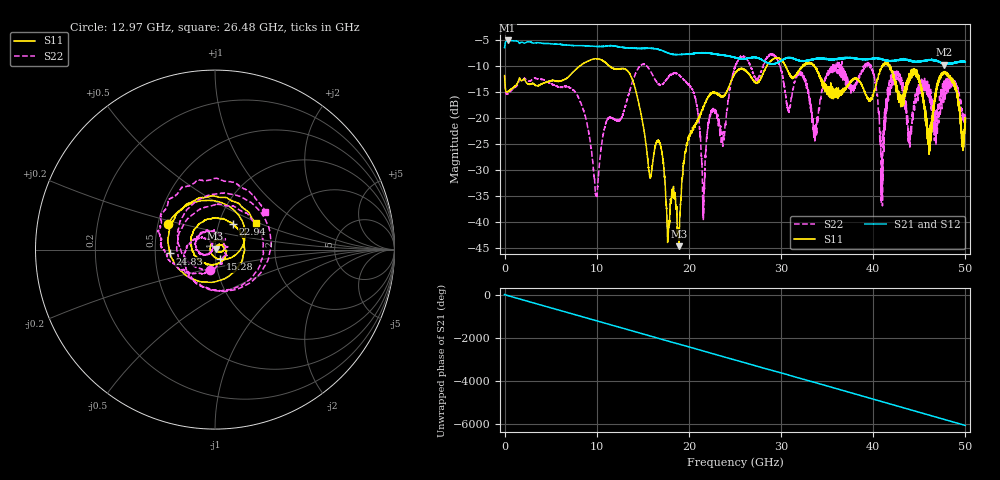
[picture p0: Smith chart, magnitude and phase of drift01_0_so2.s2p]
!Created with skrf (http://scikit-rf.org).
# Hz S RI R 50.0
!freq ReS11 ImS11 ReS21 ImS21 ReS12 ImS12 ReS22 ImS22
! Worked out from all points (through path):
!   10001 points, 300 kHz to 50 GHz, reference 50 ohm
!   highest |S21| = -5.05 dB at 325.3 MHz (marker M1); lowest = -9.7 dB at 47.67 GHz (marker M2)
!   group delay of S21, straight-line fit = 336 ps
!   lowest |S11| = -44.7 dB at 18.93 GHz (marker M3), VSWR 1.01, Z = 50.3 + j0.48 ohm
!   |S11| at or under -10 dB: start of sweep to 8.136 GHz; 11.38 GHz to 28.45 GHz (17.07 GHz wide, 85.7 % of centre); 41.79 GHz to end of sweep (the widest 3 of 11)
!   |S22| runs from -39.7 to -7.6 dB; largest |S21 - S12| = 0.012
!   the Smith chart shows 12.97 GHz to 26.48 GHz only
!   S11 on the Smith chart (normalised r, x): 12.97 GHz: 0.56, +0.18; 15.28 GHz: 1.05, -0.11; 22.94 GHz: 1.17, +0.35; 24.83 GHz: 0.60, -0.03; 26.48 GHz: 1.49, +0.47
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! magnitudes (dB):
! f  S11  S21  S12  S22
! 300 kHz  -11.8  -6.5  -6.5  -11.8
! 325.3 MHz  -15.0  -5.1  -5.1  -15.4
! 8.335 GHz  -9.7  -6.0  -6.0  -17.4
! 9.935 GHz  -8.6  -6.2  -6.2  -34.6
! 12.97 GHz  -10.5  -6.4  -6.4  -18.5
! 15.28 GHz  -24.3  -6.6  -6.6  -9.8
! 16.67 GHz  -24.3  -6.8  -6.8  -13.4
! 17.7 GHz  -43.9  -7.4  -7.4  -12.3
! 18.93 GHz  -44.7  -7.8  -7.8  -11.8
! 20.7 GHz  -21.3  -7.5  -7.5  -16.2
! 21.56 GHz  -17.8  -7.4  -7.4  -38.1
! 22.94 GHz  -15.1  -7.7  -7.7  -18.9
! 24.83 GHz  -11.9  -8.3  -8.3  -11.3
! 25 GHz  -11.4  -8.4  -8.4  -10.2
! 26.48 GHz  -11.4  -8.5  -8.5  -9.2
! 33.34 GHz  -9.5  -8.7  -8.7  -19.9
! 39.53 GHz  -16.7  -8.6  -8.6  -10.0
! 40.94 GHz  -10.0  -8.6  -8.7  -27.9
! 41.67 GHz  -9.9  -8.9  -9.0  -15.3
! 46.06 GHz  -24.5  -8.8  -8.8  -14.2
! 47.67 GHz  -11.4  -9.7  -9.6  -14.7
! 50 GHz  -20.8  -9.2  -9.2  -20.1
